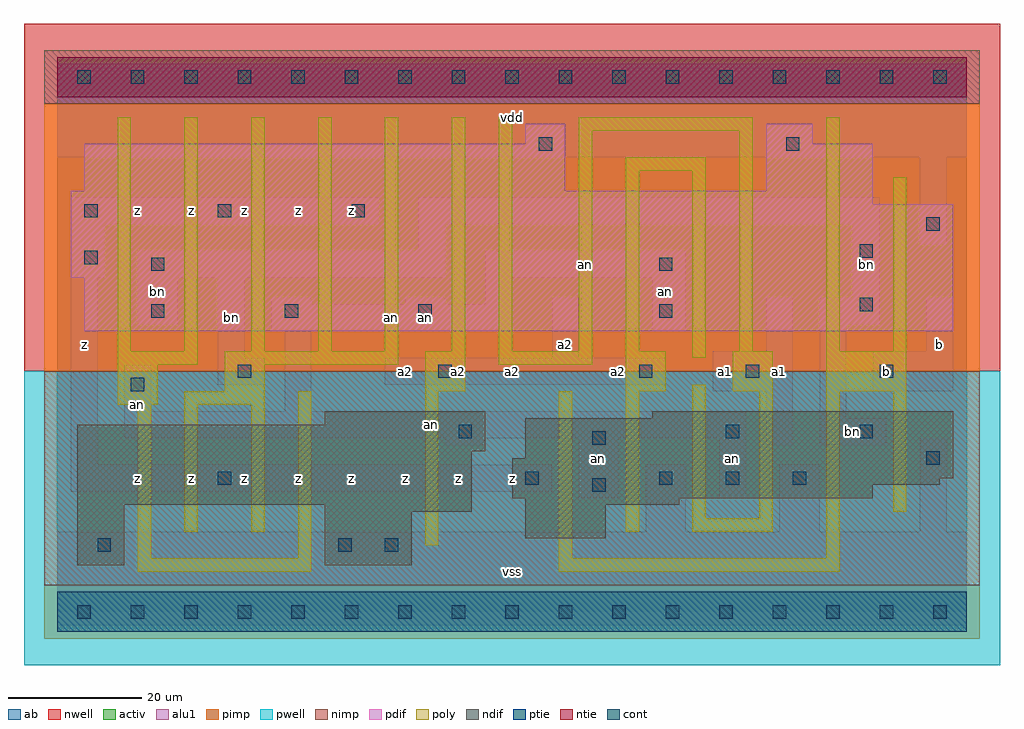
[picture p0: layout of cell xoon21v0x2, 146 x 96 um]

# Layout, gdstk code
import gdstk
lib = gdstk.Library(unit=1e-6, precision=1e-09)
def R(c, l, rs):  # rectangles x0, y0, x1, y1
    for r in rs: c.add(gdstk.rectangle(r[:2], r[2:], *l))
def A(c, l, x, y, w, h, nx, ny, dx, dy):  # array of equal rectangles
    R(c, l, [(x+i*dx, y+j*dy, x+i*dx+w, y+j*dy+h) for i in range(nx) for j in range(ny)])
ndif = (3, 0)
pdif = (4, 0)
ntie = (5, 0)
ptie = (6, 0)
cont = (25, 0)
pwell = (41, 0)
nwell = (42, 0)
activ = (43, 0)
pimp = (44, 0)
nimp = (45, 0)
poly = (46, 0)
alu1 = (49, 0)
ab = (63, 0)

xoon21v0x2 = lib.new_cell('xoon21v0x2')
R(xoon21v0x2, ndif, [(3,7,10,16), (40,7,53,15), (70,11,82,16), (40,15,62,16), (3,16,62,24), (70,16,93,17), (68,17,122,19), (68,19,132,20), (68,20,134,23), (70,23,134,29), (3,24,64,28), (40,28,64,30), (89,29,134,30)])
R(xoon21v0x2, pdif, [(4,42,134,50), (2,50,134,61), (2,61,122,63), (4,63,76,70), (106,63,122,70), (70,70,76,73), (106,70,113,73)])
R(xoon21v0x2, ntie, [(0,77,136,83)])
R(xoon21v0x2, ptie, [(0,-3,136,3)])
A(xoon21v0x2, cont, 3, -1, 2, 2, 17, 2, 8, 80)
A(xoon21v0x2, cont, 90, 19, 2, 2, 3, 1, 10, 0)
A(xoon21v0x2, cont, 27, 35, 2, 2, 3, 1, 30, 0)
A(xoon21v0x2, cont, 14, 44, 2, 2, 3, 1, 20, 0)
A(xoon21v0x2, cont, 4, 59, 2, 2, 3, 1, 20, 0)
R(xoon21v0x2, cont, [(6,9,8,11), (42,9,44,11), (49,9,51,11), (80,18,82,20), (24,19,26,21), (70,19,72,21), (130,22,132,24), (80,25,82,27), (60,26,62,28), (100,26,102,28), (120,26,122,28), (11,33,13,35), (103,35,105,37), (123,35,125,37), (90,44,92,46), (120,45,122,47), (14,51,16,53), (90,51,92,53), (4,52,6,54), (120,53,122,55), (130,57,132,59), (72,69,74,71), (109,69,111,71)])
R(xoon21v0x2, pwell, [(-5,-8,141,36)])
R(xoon21v0x2, nwell, [(-5,36,141,88)])
R(xoon21v0x2, activ, [(0,-3,136,3), (3,7,10,16), (40,7,53,15), (70,11,82,16), (40,15,62,16), (3,16,62,24), (70,16,93,17), (68,17,122,19), (68,19,132,20), (68,20,134,23), (70,23,134,29), (3,24,64,28), (40,28,64,30), (89,29,134,30), (4,42,134,50), (2,50,134,61), (2,61,122,63), (4,63,76,70), (106,63,122,70), (70,70,76,73), (106,70,113,73), (0,77,136,83)])
R(xoon21v0x2, pimp, [(-2,-4,138,4), (-2,36,138,76)])
R(xoon21v0x2, nimp, [(-2,4,138,36), (-2,76,138,84)])
A(xoon21v0x2, poly, 9, 39, 2, 35, 6, 1, 10, 0)
R(xoon21v0x2, poly, [(12,6,38,8), (75,6,117,8), (12,8,14,31), (36,8,38,33), (75,8,77,33), (115,8,117,33), (55,10,57,33), (19,12,21,31), (29,12,31,31), (85,12,87,33), (95,12,107,14), (95,14,97,34), (105,14,107,33), (125,15,127,33), (9,31,15,37), (19,31,31,33), (25,33,31,37), (55,33,61,39), (85,33,91,39), (101,33,107,39), (115,33,127,39), (9,37,21,39), (25,37,51,39), (66,37,80,39), (95,38,97,66), (66,39,68,74), (78,39,80,72), (85,39,87,66), (102,39,104,72), (115,39,117,74), (125,39,127,65), (85,66,97,68), (78,72,104,74)])
R(xoon21v0x2, alu1, [(0,-2,136,12), (88,12,94,22), (108,12,114,22), (129,12,133,26), (78,17,84,26), (99,17,103,26), (2,18,74,22), (2,22,6,50), (58,25,64,26), (106,25,110,33), (114,25,124,29), (10,26,103,30), (114,29,118,43), (10,30,14,37), (34,30,38,42), (98,33,110,39), (122,33,134,39), (24,34,31,38), (49,34,91,38), (24,38,28,50), (74,38,78,47), (106,39,110,47), (130,39,134,47), (32,42,68,46), (89,42,94,50), (12,43,18,50), (114,43,123,47), (32,46,38,47), (52,46,58,47), (64,46,68,50), (119,47,123,58), (2,50,7,58), (12,50,58,54), (64,50,94,54), (54,54,58,58), (129,55,133,68), (2,58,48,62), (54,58,123,62), (0,68,136,82)])
R(xoon21v0x2, ab, [(0,0,136,80)])
xoon21v0x2.add(gdstk.Label('an', (12,31), layer=49, texttype=0))
xoon21v0x2.add(gdstk.Label('bn', (15,48), layer=49, texttype=0))
xoon21v0x2.add(gdstk.Label('bn', (26,44), layer=49, texttype=0))
xoon21v0x2.add(gdstk.Label('an', (55,44), layer=49, texttype=0))
xoon21v0x2.add(gdstk.Label('an', (50,44), layer=49, texttype=0))
xoon21v0x2.add(gdstk.Label('an', (81,23), layer=49, texttype=0))
xoon21v0x2.add(gdstk.Label('an', (56,28), layer=49, texttype=0))
xoon21v0x2.add(gdstk.Label('an', (101,23), layer=49, texttype=0))
xoon21v0x2.add(gdstk.Label('an', (91,48), layer=49, texttype=0))
xoon21v0x2.add(gdstk.Label('an', (79,52), layer=49, texttype=0))
xoon21v0x2.add(gdstk.Label('bn', (119,27), layer=49, texttype=0))
xoon21v0x2.add(gdstk.Label('bn', (121,52), layer=49, texttype=0))
xoon21v0x2.add(gdstk.Label('z', (12,20), layer=49, texttype=0))
xoon21v0x2.add(gdstk.Label('z', (20,20), layer=49, texttype=0))
xoon21v0x2.add(gdstk.Label('z', (28,20), layer=49, texttype=0))
xoon21v0x2.add(gdstk.Label('z', (4,40), layer=49, texttype=0))
xoon21v0x2.add(gdstk.Label('z', (12,60), layer=49, texttype=0))
xoon21v0x2.add(gdstk.Label('z', (20,60), layer=49, texttype=0))
xoon21v0x2.add(gdstk.Label('z', (28,60), layer=49, texttype=0))
xoon21v0x2.add(gdstk.Label('z', (44,20), layer=49, texttype=0))
xoon21v0x2.add(gdstk.Label('z', (52,20), layer=49, texttype=0))
xoon21v0x2.add(gdstk.Label('z', (60,20), layer=49, texttype=0))
xoon21v0x2.add(gdstk.Label('z', (36,20), layer=49, texttype=0))
xoon21v0x2.add(gdstk.Label('a2', (60,36), layer=49, texttype=0))
xoon21v0x2.add(gdstk.Label('a2', (52,36), layer=49, texttype=0))
xoon21v0x2.add(gdstk.Label('z', (44,60), layer=49, texttype=0))
xoon21v0x2.add(gdstk.Label('z', (36,60), layer=49, texttype=0))
xoon21v0x2.add(gdstk.Label('vss', (68,6), layer=49, texttype=0))
xoon21v0x2.add(gdstk.Label('z', (68,20), layer=49, texttype=0))
xoon21v0x2.add(gdstk.Label('a2', (68,36), layer=49, texttype=0))
xoon21v0x2.add(gdstk.Label('a1', (100,36), layer=49, texttype=0))
xoon21v0x2.add(gdstk.Label('a2', (84,36), layer=49, texttype=0))
xoon21v0x2.add(gdstk.Label('a2', (76,40), layer=49, texttype=0))
xoon21v0x2.add(gdstk.Label('vdd', (68,74), layer=49, texttype=0))
xoon21v0x2.add(gdstk.Label('b', (124,36), layer=49, texttype=0))
xoon21v0x2.add(gdstk.Label('a1', (108,36), layer=49, texttype=0))
xoon21v0x2.add(gdstk.Label('b', (132,40), layer=49, texttype=0))

lib.write_gds('xoon21v0x2.gds')
